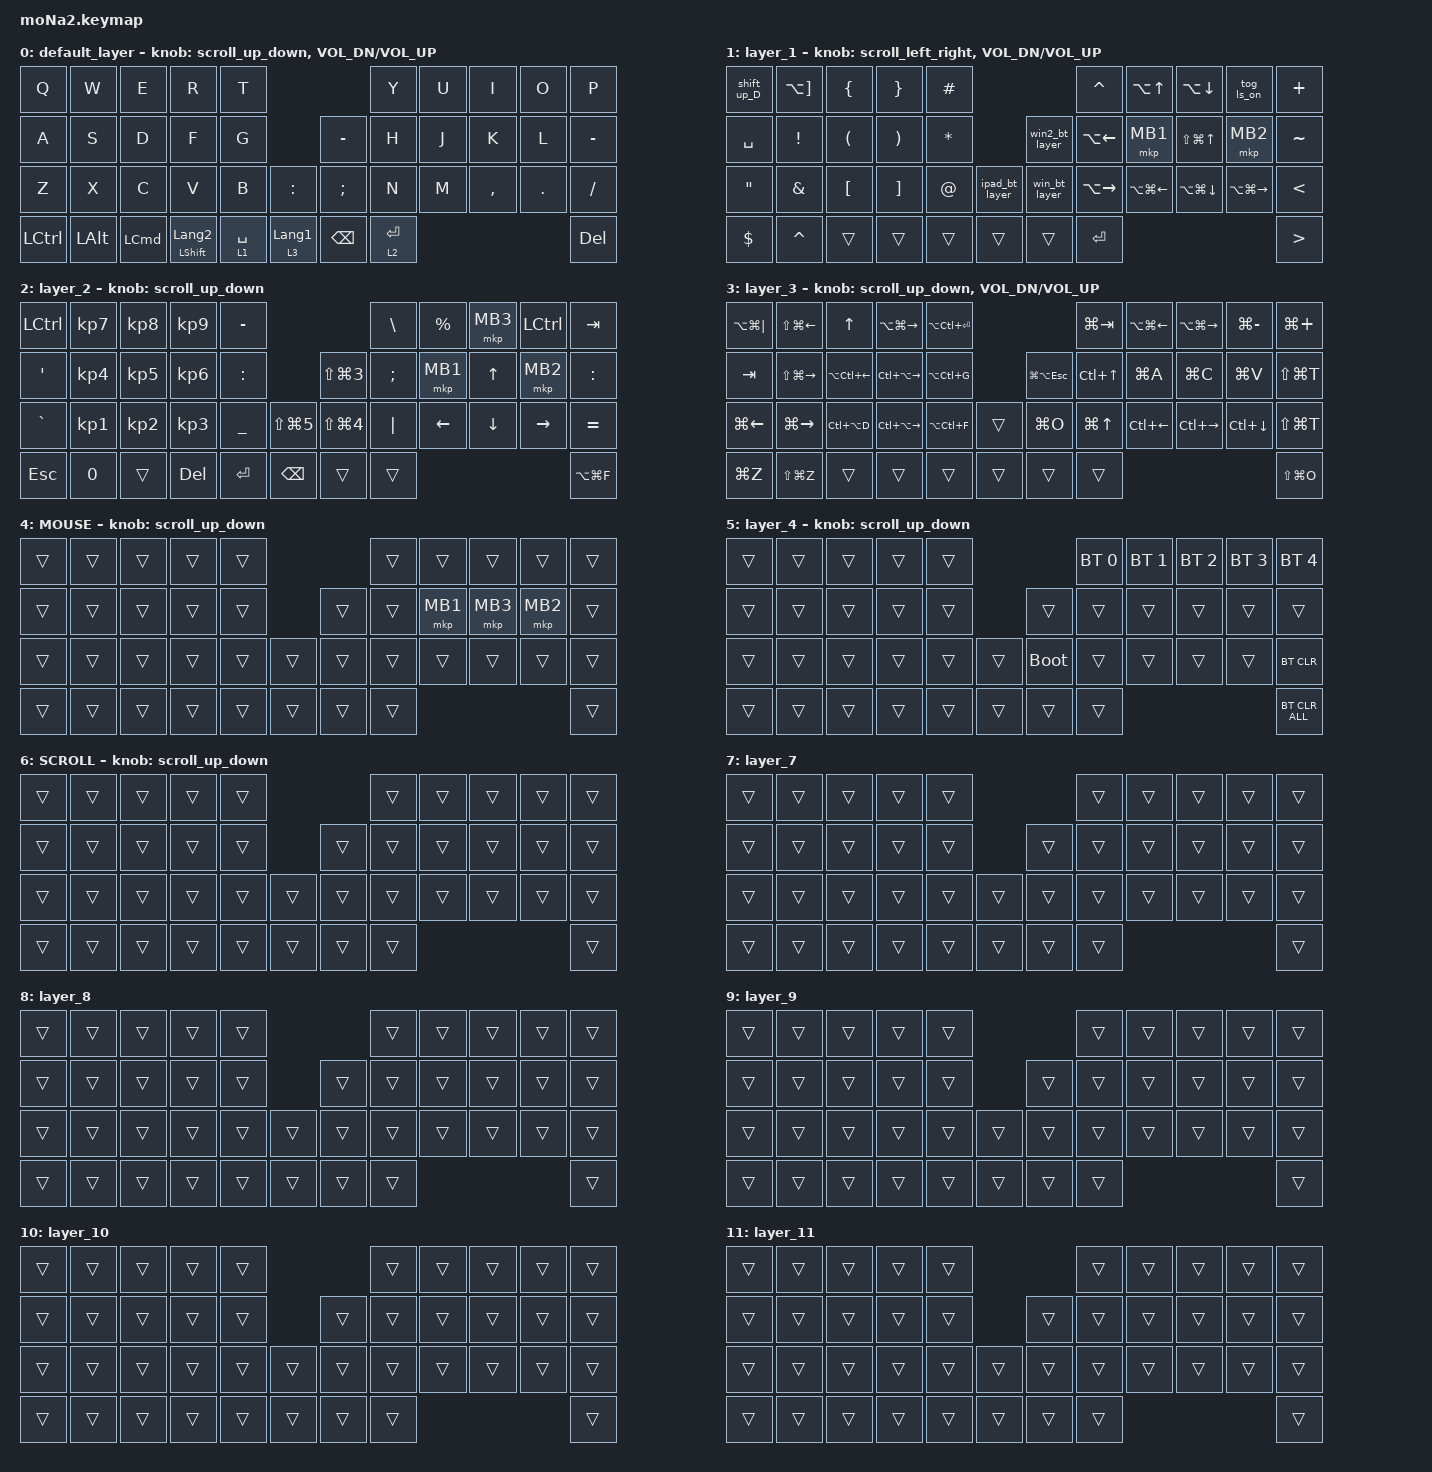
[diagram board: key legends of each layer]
#include <layout_shift.dtsi>
#include <layout_shift_kp_override.dtsi>
#include <behaviors.dtsi>
#include <dt-bindings/zmk/bt.h>
#include <dt-bindings/zmk/keys.h>
#include <dt-bindings/zmk/pointing.h>

#define ZMK_POINTING_DEFAULT_SCRL_VAL 100
#define MOUSE 5
#define SCROLL 6

&mt {
    flavor = "balanced";
    quick-tap-ms = <0>;
};

/ {
    combos { compatible = "zmk,combos"; };

    macros {
        to_layer_0: to_layer_0 {
            compatible = "zmk,behavior-macro";
            #binding-cells = <0>;
            bindings = <&bt BT_SEL 1>, <&macro_tap>, <&tog 7>, <&macro_tap>;

            label = "TO_LAYER_0";
        };

        mac_bt_layer: mac_bt_layer {
            compatible = "zmk,behavior-macro";
            #binding-cells = <0>;
            bindings = <&bt BT_SEL 0 &lt_to_layer_0 0 0>;
            label = "MAC_BT_LAYER";
        };

        win_bt_layer: win_bt_layer {
            compatible = "zmk,behavior-macro";
            #binding-cells = <0>;
            bindings = <&bt BT_SEL 2 &lt_to_layer_0 7 0>;
            label = "WIN_BT_LAYER";
        };

        ipad_bt_layer: ipad_bt_layer {
            compatible = "zmk,behavior-macro";
            #binding-cells = <0>;
            bindings = <&bt BT_SEL 1 &lt_to_layer_0 3 0>;
            label = "IPAD_BT_LAYER";
        };

        win2_bt_layer: win2_bt_layer {
            compatible = "zmk,behavior-macro";
            #binding-cells = <0>;
            bindings = <&bt BT_SEL 3 &lt_to_layer_0 9 0>;
            label = "WIN2_BT_LAYER";
        };

        disvord_chat: disvord_chat {
            compatible = "zmk,behavior-macro";
            #binding-cells = <0>;
            bindings = <&none>;
            label = "DISVORD_CHAT";
        };

        shift_up_D: shift_up_D {
            compatible = "zmk,behavior-macro";
            #binding-cells = <0>;
            bindings =
                <&macro_press>,
                <&kp LEFT_SHIFT &kp LEFT_ALT &kp D>,
                <&macro_release>,
                <&kp LEFT_SHIFT &kp LEFT_ALT &kp D>;

            label = "SHIFT_UP_D";
        };
    };

    behaviors {
        lt_to_layer_0: lt_to_layer_0 {
            compatible = "zmk,behavior-hold-tap";
            label = "LAYER_TAP_TO_0";
            bindings = <&mo>, <&to_layer_0>;

            #binding-cells = <2>;
            tapping-term-ms = <200>;
        };

        scroll_up_down: behavior_sensor_rotate_mouse_wheel_up_down {
            compatible = "zmk,behavior-sensor-rotate";
            #sensor-binding-cells = <0>;
            bindings = <&msc SCRL_UP>, <&msc SCRL_DOWN>;

            tap-ms = <20>;
        };

        scroll_left_right: behavior_sensor_rotate_mouse_wheel_left_right {
            compatible = "zmk,behavior-sensor-rotate";
            #sensor-binding-cells = <0>;
            bindings = <&msc SCRL_LEFT>, <&msc SCRL_RIGHT>;

            tap-ms = <20>;
        };
    };

    keymap {
        compatible = "zmk,keymap";

        default_layer {
            bindings = <
&kp Q      &kp W         &kp E     &kp R                      &kp T                                           &kp Y        &kp U  &kp I      &kp O    &kp P
&kp A      &kp S         &kp D     &kp F                      &kp G                            &kp MINUS      &kp H        &kp J  &kp K      &kp L    &kp MINUS
&kp Z      &kp X         &kp C     &kp V                      &kp B        &kp COLON           &kp SEMICOLON  &kp N        &kp M  &kp COMMA  &kp DOT  &kp SLASH
&kp LCTRL  &kp LEFT_ALT  &kp LCMD  &mt LEFT_SHIFT LANGUAGE_2  &lt 1 SPACE  &lt 3 LANGUAGE_1    &kp BACKSPACE  &lt 2 ENTER                             &kp DEL
            >;

            sensor-bindings =
                <&scroll_up_down>,
                <&inc_dec_kp C_VOL_DN C_VOL_UP>;
        };

        layer_1 {
            bindings = <
&shift_up_D        &kp LA(RIGHT_BRACKET)  &kp LEFT_BRACE        &kp RIGHT_BRACE        &kp HASH                                        &kp CARET      &kp LA(UP_ARROW)  &kp LA(DOWN)          &tog_ls_on         &kp PLUS
&kp SPACE          &kp EXCLAMATION        &kp LEFT_PARENTHESIS  &kp RIGHT_PARENTHESIS  &kp ASTERISK                    &win2_bt_layer  &kp LA(LEFT)   &mkp MB1          &kp LS(LG(UP_ARROW))  &mkp MB2           &kp TILDE
&kp DOUBLE_QUOTES  &kp AMPERSAND          &kp LEFT_BRACKET      &kp RIGHT_BRACKET      &kp AT_SIGN   &ipad_bt_layer    &win_bt_layer   &kp LA(RIGHT)  &kp LA(LG(LEFT))  &kp LA(LG(DOWN))      &kp LA(LG(RIGHT))  &kp LESS_THAN
&kp DOLLAR         &kp CARET              &trans                &trans                 &trans        &trans            &trans          &kp ENTER                                                                 &kp GREATER_THAN
            >;

            sensor-bindings =
                <&scroll_left_right>,
                <&inc_dec_kp C_VOL_DN C_VOL_UP>;
        };

        layer_2 {
            bindings = <
&kp LCTRL  &kp KP_NUMBER_7  &kp KP_NUMBER_8  &kp KP_NUMBER_9  &kp MINUS                                               &kp BACKSLASH  &kp PERCENT  &mkp MB3      &kp LCTRL  &kp TAB
&kp SQT    &kp KP_NUMBER_4  &kp KP_NUMBER_5  &kp KP_NUMBER_6  &kp COLON                         &kp LS(LG(NUMBER_3))  &kp SEMICOLON  &mkp MB1     &kp UP_ARROW  &mkp MB2   &kp COLON
&kp GRAVE  &kp KP_NUMBER_1  &kp KP_NUMBER_2  &kp KP_NUMBER_3  &kp UNDERSCORE  &kp LS(LG(N5))    &kp LS(LG(NUMBER_4))  &kp PIPE       &kp LEFT     &kp DOWN      &kp RIGHT  &kp EQUAL
&kp ESC    &kp NUMBER_0     &trans           &kp DELETE       &kp ENTER       &kp BACKSPACE     &trans                &trans                                               &kp LA(LG(F))
            >;

            sensor-bindings = <&scroll_up_down>;
        };

        layer_3 {
            bindings = <
&kp LA(LG(PIPE))    &kp LS(LG(LEFT_ARROW))  &kp UP_ARROW            &kp LA(LG(RIGHT))              &kp LA(LC(ENTER))                             &kp LG(TAB)       &kp LA(LG(LEFT))  &kp LA(LG(RIGHT))    &kp LG(MINUS)  &kp LG(PLUS)
&kp TAB             &kp LS(LG(RIGHT))       &kp LA(LC(LEFT_ARROW))  &kp LC(LA(RIGHT))        &kp LA(LC(G))                &kp LG(LA(ESC))  &kp LC(UP_ARROW)  &kp LG(A)        &kp LG(C)      &kp LG(V)      &kp LS(LG(T))
&kp LG(LEFT_ARROW)  &kp LG(RIGHT)           &kp LC(LA(D))           &kp LC(LA(RIGHT_ARROW))  &kp LA(LC(F))      &trans    &kp LG(O)        &kp LG(UP_ARROW)  &kp LC(LEFT)     &kp LC(RIGHT)  &kp LC(DOWN)   &kp LS(LG(T))
&kp LG(Z)           &kp LS(LG(Z))           &trans                  &trans                   &trans             &trans    &trans           &trans                                                           &kp LS(LG(O))
            >;

            sensor-bindings =
                <&scroll_up_down>,
                <&inc_dec_kp C_VOL_DN C_VOL_UP>;
        };

        MOUSE {
            bindings = <
&trans  &trans  &trans  &trans  &trans                    &trans  &trans    &trans    &trans    &trans
&trans  &trans  &trans  &trans  &trans            &trans  &trans  &mkp MB1  &mkp MB3  &mkp MB2  &trans
&trans  &trans  &trans  &trans  &trans  &trans    &trans  &trans  &trans    &trans    &trans    &trans
&trans  &trans  &trans  &trans  &trans  &trans    &trans  &trans                                &trans
            >;

            sensor-bindings = <&scroll_up_down>;
        };

        layer_4 {
            bindings = <
&trans  &trans  &trans  &trans  &trans                         &bt BT_SEL 0  &bt BT_SEL 1  &bt BT_SEL 2  &bt BT_SEL 3  &bt BT_SEL 4
&trans  &trans  &trans  &trans  &trans            &trans       &trans        &trans        &trans        &trans        &trans
&trans  &trans  &trans  &trans  &trans  &trans    &bootloader  &trans        &trans        &trans        &trans        &bt BT_CLR
&trans  &trans  &trans  &trans  &trans  &trans    &trans       &trans                                                  &bt BT_CLR_ALL
            >;

            sensor-bindings = <&scroll_up_down>;
        };

        SCROLL {
            bindings = <
&trans  &trans  &trans  &trans  &trans                    &trans  &trans  &trans  &trans  &trans
&trans  &trans  &trans  &trans  &trans            &trans  &trans  &trans  &trans  &trans  &trans
&trans  &trans  &trans  &trans  &trans  &trans    &trans  &trans  &trans  &trans  &trans  &trans
&trans  &trans  &trans  &trans  &trans  &trans    &trans  &trans                          &trans
            >;

            sensor-bindings = <&scroll_up_down>;
        };

        layer_7 {
            bindings = <
&trans  &trans  &trans  &trans  &trans                    &trans  &trans  &trans  &trans  &trans
&trans  &trans  &trans  &trans  &trans            &trans  &trans  &trans  &trans  &trans  &trans
&trans  &trans  &trans  &trans  &trans  &trans    &trans  &trans  &trans  &trans  &trans  &trans
&trans  &trans  &trans  &trans  &trans  &trans    &trans  &trans                          &trans
            >;
        };

        layer_8 {
            bindings = <
&trans  &trans  &trans  &trans  &trans                    &trans  &trans  &trans  &trans  &trans
&trans  &trans  &trans  &trans  &trans            &trans  &trans  &trans  &trans  &trans  &trans
&trans  &trans  &trans  &trans  &trans  &trans    &trans  &trans  &trans  &trans  &trans  &trans
&trans  &trans  &trans  &trans  &trans  &trans    &trans  &trans                          &trans
            >;
        };

        layer_9 {
            bindings = <
&trans  &trans  &trans  &trans  &trans                    &trans  &trans  &trans  &trans  &trans
&trans  &trans  &trans  &trans  &trans            &trans  &trans  &trans  &trans  &trans  &trans
&trans  &trans  &trans  &trans  &trans  &trans    &trans  &trans  &trans  &trans  &trans  &trans
&trans  &trans  &trans  &trans  &trans  &trans    &trans  &trans                          &trans
            >;
        };

        layer_10 {
            bindings = <
&trans  &trans  &trans  &trans  &trans                    &trans  &trans  &trans  &trans  &trans
&trans  &trans  &trans  &trans  &trans            &trans  &trans  &trans  &trans  &trans  &trans
&trans  &trans  &trans  &trans  &trans  &trans    &trans  &trans  &trans  &trans  &trans  &trans
&trans  &trans  &trans  &trans  &trans  &trans    &trans  &trans                          &trans
            >;
        };

        layer_11 {
            bindings = <
&trans  &trans  &trans  &trans  &trans                    &trans  &trans  &trans  &trans  &trans
&trans  &trans  &trans  &trans  &trans            &trans  &trans  &trans  &trans  &trans  &trans
&trans  &trans  &trans  &trans  &trans  &trans    &trans  &trans  &trans  &trans  &trans  &trans
&trans  &trans  &trans  &trans  &trans  &trans    &trans  &trans                          &trans
            >;
        };
    };
};
